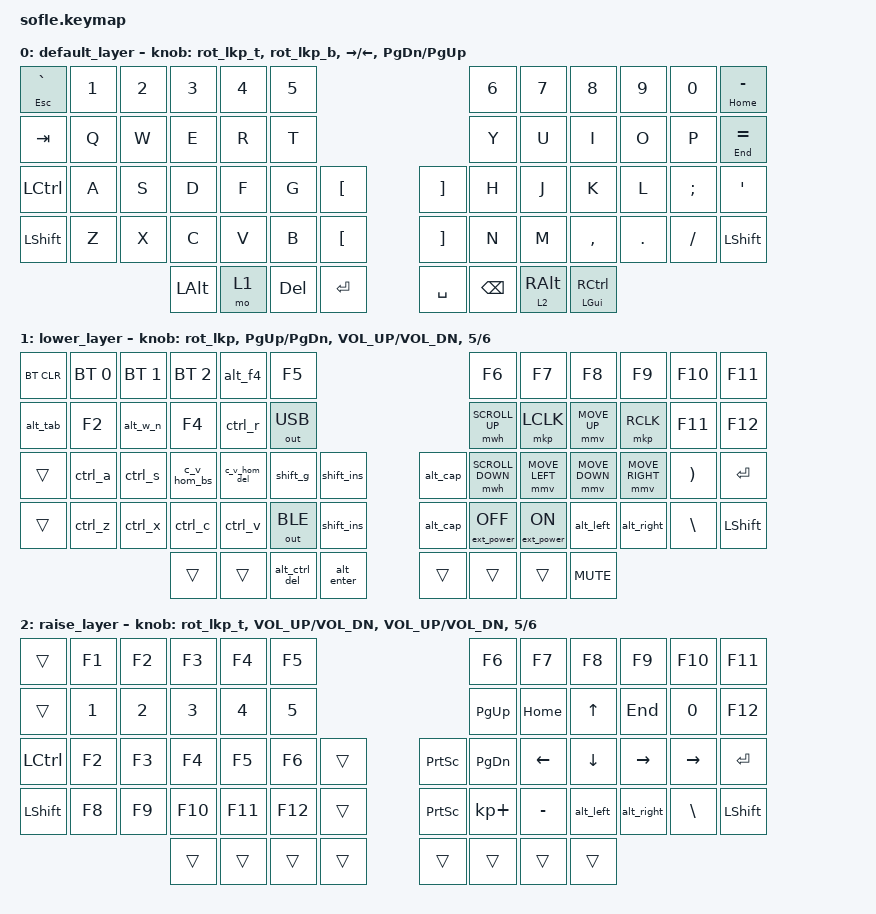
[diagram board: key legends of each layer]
/*
 * Copyright (c) 2020 The ZMK Contributors
 *
 * SPDX-License-Identifier: MIT
 */

#include <behaviors.dtsi>
#include <dt-bindings/zmk/keys.h>
#include <dt-bindings/zmk/bt.h>
#include <dt-bindings/zmk/ext_power.h>
#include <dt-bindings/zmk/outputs.h>
#include <dt-bindings/zmk/mouse.h>

&left_encoder { resolution = <2>; };
&left_encoder_2 { resolution = <2>; };
&right_encoder { resolution = <2>; };
&right_encoder_2 { resolution = <2>; };

/*
/ {
	combos {
        compatible = "zmk,combos";
        combo_LPAR {
            timeout-ms = <10>;
            key-positions = <19 20>;
            bindings = <&kp LPAR>;
        };
		combo_RPAR {
            timeout-ms = <10>;
            key-positions = <20 21>;
            bindings = <&kp RPAR>;
        };
		combo_LBKT {
            timeout-ms = <10>;
            key-positions = <31 32>;
            bindings = <&kp LBKT>;
        };
		combo_RBKT {
            timeout-ms = <10>;
            key-positions = <32 33>;
            bindings = <&kp RBKT>;
        };
		combo_LBRC {
            timeout-ms = <10>;
            key-positions = <45 46>;
            bindings = <&kp LBRC>;
        };
		combo_RBRC {
            timeout-ms = <10>;
            key-positions = <46 47>;
            bindings = <&kp RBRC>;
        };
		
	};
};
*/


/ {
    macros {
        shift_ins: shift_ins {
            label = "ZM_shift_ins";
            compatible = "zmk,behavior-macro";
            #binding-cells = <0>;
            bindings
                = <&macro_press &kp LSHFT>
                , <&macro_tap &kp INS>
                , <&macro_release &kp LSHFT>
                ;
        };

        ctrl_z: ctrl_z {
            label = "ZM_ctrl_z";
            compatible = "zmk,behavior-macro";
            #binding-cells = <0>;
            bindings
                = <&macro_press &kp LCTRL>
                , <&macro_tap &kp Z>
                , <&macro_release &kp LCTRL>
                ;
        };

        ctrl_y: ctrl_y {
            label = "ZM_ctrl_y";
            compatible = "zmk,behavior-macro";
            #binding-cells = <0>;
            bindings
                = <&macro_press &kp LCTRL>
                , <&macro_tap &kp Y>
                , <&macro_release &kp LCTRL>
                ;
        };

        ctrl_x: ctrl_x {
            label = "ZM_ctrl_x";
            compatible = "zmk,behavior-macro";
            #binding-cells = <0>;
            bindings
                = <&macro_press &kp LCTRL>
                , <&macro_tap &kp X>
                , <&macro_release &kp LCTRL>
                ;
        };

        ctrl_c: ctrl_c {
            label = "ZM_ctrl_c";
            compatible = "zmk,behavior-macro";
            #binding-cells = <0>;
            bindings
                = <&macro_press &kp LCTRL>
                , <&macro_tap &kp C>
                , <&macro_release &kp LCTRL>
                ;
        };

        ctrl_v: ctrl_v {
            label = "ZM_ctrl_v";
            compatible = "zmk,behavior-macro";
            #binding-cells = <0>;
            bindings
                = <&macro_press &kp LCTRL>
                , <&macro_tap &kp V>
                , <&macro_release &kp LCTRL>
                ;
        };

        ctrl_r: ctrl_r {
            label = "ZM_ctrl_r";
            compatible = "zmk,behavior-macro";
            #binding-cells = <0>;
            bindings
                = <&macro_press &kp LCTRL>
                , <&macro_tap &kp R>
                , <&macro_release &kp LCTRL>
                ;
        };

        ctrl_a: ctrl_a {
            label = "ZM_ctrl_a";
            compatible = "zmk,behavior-macro";
            #binding-cells = <0>;
            bindings
                = <&macro_press &kp LCTRL>
                , <&macro_tap &kp A>
                , <&macro_release &kp LCTRL>
                ;
        };

        ctrl_s: ctrl_s {
            label = "ZM_ctrl_r";
            compatible = "zmk,behavior-macro";
            #binding-cells = <0>;
            bindings
                = <&macro_press &kp LCTRL>
                , <&macro_tap &kp S>
                , <&macro_release &kp LCTRL>
                ;
        };


        ctrl_back: ctrl_back {
            label = "ZM_ctrl_back";
            compatible = "zmk,behavior-macro";
            #binding-cells = <0>;
            bindings
                = <&macro_press &kp LCTRL> 
                , <&macro_tap &kp MINUS>
                , <&macro_release &kp LCTRL>
                ;
        };

        ctrl_sh_back: ctrl_sh_back {
            label = "ZM_ctrl_sh_back";
            compatible = "zmk,behavior-macro";
            #binding-cells = <0>;
            bindings
                = <&macro_press &kp LCTRL &kp LSHIFT>
                , <&macro_tap &kp MINUS>
                , <&macro_release &kp LCTRL &kp LSHIFT>
                ;
        };

        ctrl_tab: ctrl_tab {
            label = "ZM_ctrl_tab";
            compatible = "zmk,behavior-macro";
            #binding-cells = <0>;
            bindings
                = <&macro_press &kp LCTRL> 
                , <&macro_tap &kp TAB>
                , <&macro_release &kp LCTRL>
                ;
        };

        ctrl_sh_tab: ctrl_sh_tab {
            label = "ZM_ctrl_sh_tab";
            compatible = "zmk,behavior-macro";
            #binding-cells = <0>;
            bindings
                = <&macro_press &kp LCTRL &kp LSHIFT>
                , <&macro_tap &kp TAB>
                , <&macro_release &kp LCTRL &kp LSHIFT>
                ;
        };

        alt_ctrl_del: alt_ctrl_del {
            label = "ZM_alt_ctrl_del";
            compatible = "zmk,behavior-macro";
            #binding-cells = <0>;
            bindings
                = <&macro_press &kp LCTRL &kp LALT>
                , <&macro_tap &kp DEL>
                , <&macro_release &kp LCTRL &kp LALT>
                ;
        };

        alt_f4: alt_f4 {
            label = "ZM_alt_f4";
            compatible = "zmk,behavior-macro";
            #binding-cells = <0>;
            bindings
                = <&macro_press &kp LALT>
                , <&macro_tap &kp F4>
                , <&macro_release &kp LALT>
                ;
        };

        alt_left: alt_left {
            label = "ZM_alt_left";
            compatible = "zmk,behavior-macro";
            #binding-cells = <0>;
            bindings
                = <&macro_press &kp LALT>
                , <&macro_tap &kp LEFT>
                , <&macro_release &kp LALT>
                ;
        };

        alt_right: alt_right {
            label = "ZM_alt_right";
            compatible = "zmk,behavior-macro";
            #binding-cells = <0>;
            bindings
                = <&macro_press &kp LALT>
                , <&macro_tap &kp RIGHT>
                , <&macro_release &kp LALT>
                ;
        };

        

        alt_enter: alt_enter {
            label = "ZM_alt_enter";
            compatible = "zmk,behavior-macro";
            #binding-cells = <0>;
            bindings
                = <&macro_press &kp LALT>
                , <&macro_tap &kp ENTER>
                , <&macro_release &kp LALT>
                ;
        };

        alt_tab: alt_tab {
            label = "ZM_alt_tab";
            compatible = "zmk,behavior-macro";
            #binding-cells = <0>;
            bindings
                = <&macro_press &kp LALT>
                , <&macro_tap &kp TAB>
                , <&macro_release &kp LALT>
                ;
        };

        alt_cap: alt_cap {
            label = "ZM_alt_cap";
            compatible = "zmk,behavior-macro";
            #binding-cells = <0>;
            bindings
                = <&macro_press &kp LALT>
                , <&macro_tap &kp PSCRN>
                , <&macro_release &kp LALT>
                ;
        };

        alt_w_n: alt_w_n {
            label = "ZM_alt_w_n";
            compatible = "zmk,behavior-macro";
            #binding-cells = <0>;
            bindings
                = <&macro_press &kp LALT>
                , <&macro_tap &kp W &kp N>
                , <&macro_release &kp LALT>
                ;
        };

        shift_g: shift_g {
            label = "ZM_shift_g";
            compatible = "zmk,behavior-macro";
            #binding-cells = <0>;
            bindings
                = <&macro_press &kp LCTRL>
                , <&macro_tap &kp G>
                , <&macro_release &kp LCTRL>
                ;
        };

        c_v_hom_del: c_v_hom_del {
            label = "ZM_c_v_hom_del";
            compatible = "zmk,behavior-macro";
            #binding-cells = <0>;
            bindings
                = <&macro_press &kp LCTRL>
                , <&macro_tap &kp V>
                , <&macro_release &kp LCTRL>
                , <&macro_tap &kp HOME &kp RIGHT &kp BSPC>
                ;
        };

        c_v_hom_bs: c_v_hom_bs {
            label = "ZM_c_v_hom_bs";
            compatible = "zmk,behavior-macro";
            #binding-cells = <0>;
            bindings
                = <&macro_press &kp LCTRL>
                , <&macro_tap &kp V>
                , <&macro_release &kp LCTRL>
                , <&macro_tap &kp HOME &kp RIGHT &kp RIGHT &kp RIGHT>
                , <&macro_press &kp LSHFT>
                , <&macro_tap &kp END>
                , <&macro_release &kp LSHFT>
                , <&macro_tap &kp BSPC>
                ;
        };
       
    };

};

    

/ {
    behaviors {
        hm: homerow_mods {
            compatible = "zmk,behavior-hold-tap";
            label = "HOMEROW_MODS";
            #binding-cells = <2>;
            tapping-term-ms = <200>;
            quick-tap-ms = <0>;
            flavor = "tap-preferred";
            bindings = <&kp>, <&kp>;
        };
        se: shift_enter {
            compatible = "zmk,behavior-hold-tap";
            label = "SHIFT_ENTER";
            #binding-cells = <2>;
            tapping-term-ms = <80>;
            quick-tap-ms = <0>;
            flavor = "tap-preferred";
            bindings = <&kp>, <&kp>;
        };
        al: alt_layer {
            compatible = "zmk,behavior-hold-tap";
            label = "ALT_LAYER";
            #binding-cells = <2>;
            tapping-term-ms = <200>;
            quick-tap-ms = <0>;
            flavor = "tap-preferred";
            bindings = <&mo>, <&kp>;
        };

        rot_lkp: rot_lkp {
            compatible = "zmk,behavior-sensor-rotate";
            label = "ENC_LKP";
            #sensor-binding-cells = <0>;
            bindings = <&ctrl_z>, <&ctrl_y>;
        };

        rot_lkp_b: rot_lkp_b {
            compatible = "zmk,behavior-sensor-rotate";
            label = "ENC_LKP_BACK";
            #sensor-binding-cells = <0>;
            bindings = <&alt_right>, <&alt_left>;
        };

        rot_lkp_t: rot_lkp_t {
            compatible = "zmk,behavior-sensor-rotate";
            label = "ENC_LKP_TAB";
            #sensor-binding-cells = <0>;
            bindings = <&ctrl_tab>, <&ctrl_sh_tab>;
        };

        rot_rkp: rot_rkp {
            compatible = "zmk,behavior-sensor-rotate-var";
            label = "ENC_RKP";
            #sensor-binding-cells = <2>;
            bindings = <&mwh>, <&mwh>;
        };


        rot_mmv: rot_mmv {
            compatible = "zmk,behavior-sensor-rotate-var";
            label = "ENC_RMV";
            #sensor-binding-cells = <2>;
            bindings = <&mmv>, <&mmv>;
        };
        
    };
};




/ {
	keymap {
		compatible = "zmk,keymap";

		default_layer {
// ------------------------------------------------------------------------------------------------------------
// |  ESC  |  1  |  2  |  3   |  4   |  5   |                   |  6   |  7    |  8    |  9   |   0   |   -   |
// |  TAB  |  Q  |  W  |  E   |  R   |  T   |                   |  Y   |  U    |  I    |  O   |   P   |   =   |
// |  CTRL |  A  |  S  |  D   |  F   |  G   |                   |  H   |  J    |  K    |  L   |   ;   |   '   |
// | SHIFT |  Z  |  X  |  C   |  V   |  B   |   "["  |  |  "]"  |  N   |  M    |  ,    |  .   |   /   | SHIFT |
//                     | ALT  | LOWER| DEL  |  ENTER |  | SPACE | BSPC | UPPER | ALT   |
			bindings = <
&hm ESC GRAVE  &kp N1 &kp N2 &kp N3   &kp N4   &kp N5                 &kp N6 &kp N7   &kp N8    &kp N9  &kp N0   &hm HOME MINUS
&kp TAB        &kp Q  &kp W  &kp E    &kp R    &kp T                       &kp Y  &kp U    &kp I     &kp O   &kp P    &hm END EQUAL
&kp LCTRL      &kp A  &kp S  &kp D    &kp F    &kp G &kp LBKT    &kp RBKT  &kp H  &kp J    &kp K     &kp L   &kp SEMI &kp SQT
&kp LSHFT      &kp Z  &kp X  &kp C    &kp V    &kp B &kp LBKT      &kp RBKT     &kp N  &kp M    &kp COMMA &kp DOT &kp FSLH &kp LSHFT

		         &kp LALT  &mo 1 &kp DEL  &kp RET  &kp SPACE    &kp BSPC &al 2 RALT &hm LGUI RCTRL 
			>;
            //sensor-bindings = <&inc_dec_kp N1 N2 &inc_dec_kp N3 N4 &inc_dec_kp N5 N6 &inc_dec_kp N7 N8>;
			sensor-bindings = <&rot_lkp_t &rot_lkp_b &inc_dec_kp RIGHT LEFT &inc_dec_kp PG_DN PG_UP>;
		};

		lower_layer {
// ------------------------------------------------------------------------------------------------------------
// | BTCLR | BT1  | BT2  |  BT3 | Alt+F4|  F5   |                   |  F6  |   F7  |   F8  |   F9  |  F10  |  F11  |
// |Alt+Tab|  F2  |  F3  |  F4  | Ctr_R | M_USB |                   |SCR_UP|L_CLICK|  UP   |R_CLICK|  F11  |  F12  |
// |   `   | Ctr+A| Ctr+S| C_BS | C_Del |Shift_G|                   |SCR_DN|  LEFT |  DOWN |  RIGHT|   )   | ENTER |
// | SHIFT | Ctr+Z| Ctr+X| Ctr+C| Ctr+V | M_BT  | SH+INS |  |ALT_CAP|EX_OFF| EX_ON | ALT_L | ALT_R |   \   | SHIFT |
//                | LGUI | ALT  |       |A_C_Del| Al+Ent |  |       |      |       |       |       |
			bindings = <
&bt BT_CLR &bt BT_SEL 0  &bt BT_SEL 1 &bt BT_SEL 2 &alt_f4      &kp F5                                &kp F6   &kp F7   &kp F8 &kp F9 &kp F10 &kp F11
&alt_tab   &kp F2        &alt_w_n     &kp F4       &ctrl_r      &out OUT_USB                           &mwh SCROLL_UP    &mkp LCLK        &mmv MOVE_UP  &mkp RCLK   &kp F11   &kp F12
&trans     &ctrl_a       &ctrl_s      &c_v_hom_bs  &c_v_hom_del &shift_g      &shift_ins   &alt_cap   &mwh SCROLL_DOWN  &mmv MOVE_LEFT   &mmv MOVE_DOWN &mmv MOVE_RIGHT  &kp RPAR  &kp RET
&trans     &ctrl_z       &ctrl_x      &ctrl_c      &ctrl_v      &out OUT_BLE  &shift_ins       &alt_cap     &ext_power EP_OFF &ext_power EP_ON &alt_left     &alt_right  &kp BSLH  &kp LSHFT
                                      &trans       &trans       &alt_ctrl_del &alt_enter   &trans     &trans            &trans           &kp C_MUTE    
			>;

			sensor-bindings = <&rot_lkp &inc_dec_kp PG_UP PG_DN &inc_dec_kp C_VOL_UP C_VOL_DN &inc_dec_kp 5 6>;
		};

		raise_layer {
// ------------------------------------------------------------------------------------------------------------
// |  ESC  |  F1 | F2  |  F3  |  F4  |  F5  |                   |  F6  |   F7  |   F8  |   F9  |   F10 |   F11 |
// |  TAB  |  1  |  2  |  3   |  4   |  5   |                   | PG_UP|  Home |   ^   |   End |   0   |   F12 |
// |  CTRL |  F2 |  F3 |  F4  |  F5  |  F6  |                   | PG_DN|   <-  |   v   |   ->  |  ->   | ENTER |
// | SHIFT |  F8 |  F9 |  F10 |  F11 |  F12 |        |  | PSCRN |  +   |   -   | ALT_L | ALT_R |   \   | SHIFT |
//                     | ALT  | DEL  | ENTER| 		 |  | 		| SPACE| BSPC  | ALT   |
			bindings = <
&trans      &kp F1 &kp F2 &kp F3 &kp F4  &kp F5                       &kp F6   &kp F7   &kp F8 &kp F9 &kp F10 &kp F11
&trans      &kp N1 &kp N2 &kp N3  &kp N4  &kp N5                      &kp PG_UP  &kp HOME  &kp UP    &kp END   &kp N0    &kp F12
&kp LCTRL   &kp F2 &kp F3 &kp F4  &kp F5  &kp F6  &trans  &kp PSCRN   &kp PG_DN  &kp LEFT  &kp DOWN  &kp RIGHT &kp RIGHT &kp RET
&kp LSHFT   &kp F8 &kp F9 &kp F10 &kp F11 &kp F12 &trans  &kp PSCRN  &kp KP_PLUS &kp MINUS &alt_left &alt_right  &kp BSLH  &kp LSHFT
                          &trans  &trans  &trans  &trans  &trans      &trans  &trans &trans
			>;

			sensor-bindings = <&rot_lkp_t &inc_dec_kp C_VOL_UP C_VOL_DN &inc_dec_kp C_VOL_UP C_VOL_DN &inc_dec_kp 5 6>;
		};
	};
};
